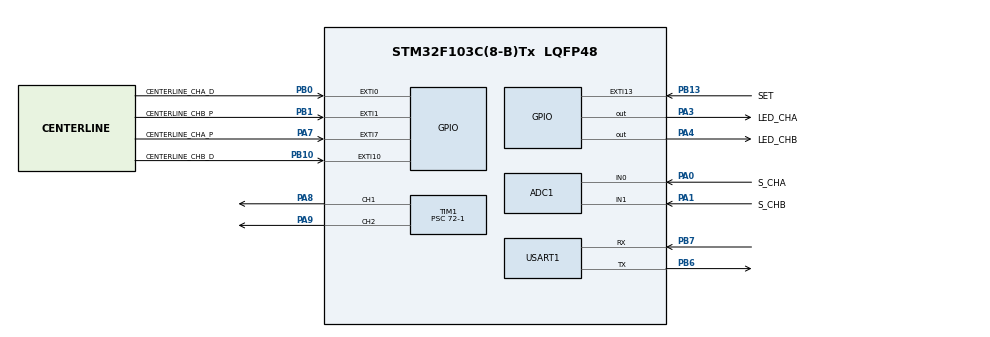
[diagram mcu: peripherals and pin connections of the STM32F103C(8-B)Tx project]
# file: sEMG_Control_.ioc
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ADC1.Channel-0\#ChannelRegularConversion=ADC_CHANNEL_0
ADC1.Channel-1\#ChannelRegularConversion=ADC_CHANNEL_1
ADC1.ContinuousConvMode=ENABLE
ADC1.NbrOfConversion=2
ADC1.NbrOfConversionFlag=1
ADC1.Rank-0\#ChannelRegularConversion=1
ADC1.Rank-1\#ChannelRegularConversion=2
ADC1.SamplingTime-0\#ChannelRegularConversion=ADC_SAMPLETIME_1CYCLE_5
ADC1.SamplingTime-1\#ChannelRegularConversion=ADC_SAMPLETIME_1CYCLE_5
ADC1.master=1
Dma.ADC1.0.Direction=DMA_PERIPH_TO_MEMORY
Dma.ADC1.0.Instance=DMA1_Channel1
Dma.ADC1.0.MemDataAlignment=DMA_MDATAALIGN_WORD
Dma.ADC1.0.MemInc=DMA_MINC_ENABLE
Dma.ADC1.0.Mode=DMA_NORMAL
Dma.ADC1.0.PeriphDataAlignment=DMA_PDATAALIGN_WORD
Dma.ADC1.0.PeriphInc=DMA_PINC_DISABLE
Dma.ADC1.0.Priority=DMA_PRIORITY_LOW
Dma.Request0=ADC1
Dma.Request1=USART1_TX
Dma.USART1_TX.1.Direction=DMA_MEMORY_TO_PERIPH
Dma.USART1_TX.1.Instance=DMA1_Channel4
Dma.USART1_TX.1.MemDataAlignment=DMA_MDATAALIGN_BYTE
Dma.USART1_TX.1.MemInc=DMA_MINC_ENABLE
Dma.USART1_TX.1.Mode=DMA_NORMAL
Dma.USART1_TX.1.PeriphDataAlignment=DMA_PDATAALIGN_BYTE
Dma.USART1_TX.1.PeriphInc=DMA_PINC_DISABLE
Dma.USART1_TX.1.Priority=DMA_PRIORITY_LOW
Mcu.Family=STM32F1
Mcu.Name=STM32F103C(8-B)Tx
Mcu.Package=LQFP48
NVIC.ADC1_2_IRQn=true\:0\:0\:false\:false\:true\:true\:true
NVIC.DMA1_Channel1_IRQn=true\:0\:0\:false\:false\:true\:false\:true
NVIC.DMA1_Channel4_IRQn=true\:0\:0\:false\:false\:true\:false\:true
NVIC.EXTI0_IRQn=true\:0\:0\:false\:false\:true\:true\:true
NVIC.EXTI15_10_IRQn=true\:0\:0\:false\:false\:true\:true\:true
NVIC.EXTI1_IRQn=true\:0\:0\:false\:false\:true\:true\:true
NVIC.EXTI9_5_IRQn=true\:0\:0\:false\:false\:true\:true\:true
NVIC.PriorityGroup=NVIC_PRIORITYGROUP_4
NVIC.TIM1_UP_IRQn=true\:0\:0\:false\:false\:true\:true\:true
NVIC.USART1_IRQn=true\:0\:0\:false\:false\:true\:true\:true
PA0-WKUP.GPIO_Label=S_CHA
PA0-WKUP.Signal=ADCx_IN0
PA1.GPIO_Label=S_CHB
PA1.Signal=ADCx_IN1
PA13.Mode=Serial_Wire
PA13.Signal=SYS_JTMS-SWDIO
PA14.Mode=Serial_Wire
PA14.Signal=SYS_JTCK-SWCLK
PA3.GPIO_Label=LED_CHA
PA3.GPIO_PuPd=GPIO_PULLDOWN
PA3.Signal=GPIO_Output
PA4.GPIO_Label=LED_CHB
PA4.GPIO_PuPd=GPIO_PULLDOWN
PA4.Signal=GPIO_Output
PA7.GPIO_Label=CENTERLINE_CHA_P
PA7.GPIO_ModeDefaultEXTI=GPIO_MODE_IT_RISING
PA7.GPIO_PuPd=GPIO_PULLDOWN
PA7.Signal=GPXTI7
PA8.Signal=S_TIM1_CH1
PA9.Signal=S_TIM1_CH2
PB0.GPIO_Label=CENTERLINE_CHA_D
PB0.GPIO_ModeDefaultEXTI=GPIO_MODE_IT_RISING
PB0.GPIO_PuPd=GPIO_PULLDOWN
PB0.Signal=GPXTI0
PB1.GPIO_Label=CENTERLINE_CHB_P
PB1.GPIO_PuPd=GPIO_PULLDOWN
PB1.Signal=GPXTI1
PB10.GPIO_Label=CENTERLINE_CHB_D
PB10.GPIO_PuPd=GPIO_PULLDOWN
PB10.Signal=GPXTI10
PB13.GPIO_Label=SET
PB13.GPIO_ModeDefaultEXTI=GPIO_MODE_IT_RISING
PB13.GPIO_PuPd=GPIO_PULLDOWN
PB13.Signal=GPXTI13
PB6.Mode=Asynchronous
PB6.Signal=USART1_TX
PB7.Mode=Asynchronous
PB7.Signal=USART1_RX
PD0-OSC_IN.Mode=HSE-External-Oscillator
PD0-OSC_IN.Signal=RCC_OSC_IN
PD1-OSC_OUT.Mode=HSE-External-Oscillator
PD1-OSC_OUT.Signal=RCC_OSC_OUT
ProjectManager.HeapSize=0x200
ProjectManager.StackSize=0x400
ProjectManager.TargetToolchain=MDK-ARM V5.27
RCC.AHBFreq_Value=72000000
RCC.APB1CLKDivider=RCC_HCLK_DIV2
RCC.APB1Freq_Value=36000000
RCC.APB1TimFreq_Value=72000000
RCC.APB2Freq_Value=72000000
RCC.APB2TimFreq_Value=72000000
RCC.HCLKFreq_Value=72000000
RCC.PLLMUL=RCC_PLL_MUL9
RCC.PLLSourceVirtual=RCC_PLLSOURCE_HSE
RCC.SYSCLKFreq_VALUE=72000000
RCC.SYSCLKSource=RCC_SYSCLKSOURCE_PLLCLK
RCC.USBFreq_Value=72000000
SH.ADCx_IN0.0=ADC1_IN0,IN0
SH.ADCx_IN1.0=ADC1_IN1,IN1
SH.S_TIM1_CH1.0=TIM1_CH1,PWM Generation1 CH1
SH.S_TIM1_CH2.0=TIM1_CH2,PWM Generation2 CH2
TIM1.Channel-PWM\ Generation1\ CH1=TIM_CHANNEL_1
TIM1.Channel-PWM\ Generation2\ CH2=TIM_CHANNEL_2
TIM1.Period=1000-1
TIM1.Prescaler=72-1
USART1.VirtualMode=VM_ASYNC
VP_TIM1_VS_ClockSourceINT.Mode=Internal
board=custom

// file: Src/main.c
/* USER CODE BEGIN Header */
/**
  ******************************************************************************
  * @file           : main.c
  * @brief          : Main program body
  ******************************************************************************
  * @attention
  *
  * <h2><center>&copy; Copyright (c) 2020 STMicroelectronics.
  * All rights reserved.</center></h2>
  *
  * This software component is licensed by ST under BSD 3-Clause license,
  * the "License"; You may not use this file except in compliance with the
  * License. You may obtain a copy of the License at:
  *                        opensource.org/licenses/BSD-3-Clause
  *
  ******************************************************************************
  */
/* USER CODE END Header */
#include "main.h"
#include "adc.h"
#include "dma.h"
#include "tim.h"
#include "usart.h"
#include "gpio.h"

void SystemClock_Config ( void );

/* USER CODE BEGIN 0 */
void UserInit ( void );
void PowerOut ( void );
uint8_t  GetValue ( uint16_t value[S_CHANNEL__NUM][SUBDIVIDE], uint16_t valueLen[S_CHANNEL__NUM], uint8_t sCh );
void GetPosition ( uint16_t  value[SUBDIVIDE], uint16_t valueDividing[3] );
void SetValue ( void );

uint32_t DMA_Transfer_Complete_Count = 0U;
uint8_t ADC_Flag = 0U;
uint16_t Blink_Tick = 0U;
uint16_t Blink_Status = 0U;
uint16_t Key__Tick = 0U;
uint8_t Key_Status = 0U;
uint8_t Set_Status = 0U; 							//设置是否更新Value_Max与Value_Min的值，0=是否开启录入，非0为当前录入项
uint32_t ADC_Value[S_CHANNEL__NUM];						//adc采集数组
uint16_t S_Value_CyCle_Tick = 0U, S_Value_CyCle_Set_Tick = 0U, Blink_CyCle_Tick = 0U;
uint8_t S_CH_Set = 0U;
uint16_t  S_Value_Level[S_CHANNEL__NUM][SUBDIVIDE];	//存放单轮采集周期不同能级样本数量
uint16_t Value_Dividing[S_CHANNEL__NUM][3];					//标记S_Value_Level数组有效数据位置范围
uint16_t Blink_Delay[S_CHANNEL__NUM];

uint16_t Static_S_Value_Len[S_CHANNEL__NUM];				//标记S_Value_Level数组有效数据长度,并作为是否为有效控制信号参照数据
uint16_t S_Value_Len[S_CHANNEL__NUM] = {0U, 0U};;								//信号能级宽度
uint8_t Value_Is_Ok[S_CHANNEL__NUM];
uint16_t S_value_Centerline[S_CHANNEL__NUM] = {S_VALUE_CENTERLINE_COUNT, S_VALUE_CENTERLINE_COUNT};//肌肉放松状态下的能量宽度
uint16_t S_value_Max[S_CHANNEL__NUM] = {S_VALUE_MAX, S_VALUE_MAX};					//最大力量下的信号阈值
uint16_t Speed_Level_Len[S_CHANNEL__NUM][SPEED_SUBDIVIDE];					//标记不同电机转速级别对应的肌肉信号能级
uint32_t Set_Value_Count = 0U;
uint16_t S_Value_SET_Status = -SET_MIN;

const double Static_S_value_Subdivide = 0xFFF / SUBDIVIDE;				//对adc信号进行格式化，以便进行能级标记能级宽度
const double Static_Speed_Subdivide = ( TIM_PERIOD + 1 ) / SPEED_SUBDIVIDE;//对电机转速进行格式化
double S_Speed_Subdivide =  S_VALUE_MAX  / SPEED_SUBDIVIDE;					//对最大肌肉力量下的信号能级进行格式化
double Value2Led = ( S_VALUE_MAX - S_VALUE_CENTERLINE_COUNT ) / ( LED_PERIOD / LED_SUBDIVIDE );//将肌肉信号转化为led灯闪烁显示

uint8_t CH_State = CH_IS_DIS;
uint16_t Sin2Speed[S_CHANNEL__NUM];
/* USER CODE END 0 */

int main ( void )
{

    /* MCU Configuration--------------------------------------------------------*/

    /* Reset of all peripherals, Initializes the Flash interface and the Systick. */
    HAL_Init();

    /* Configure the system clock */
    SystemClock_Config();

    /* Initialize all configured peripherals */
    MX_GPIO_Init();
    MX_DMA_Init();
    MX_ADC1_Init();
    MX_TIM1_Init();
    MX_USART1_UART_Init();
    /* USER CODE BEGIN 2 */
    UserInit();
    /* USER CODE END 2 */

    /* Infinite loop */
    while ( 1 )
    {

    }
}

void SystemClock_Config ( void )
{
    RCC_OscInitTypeDef RCC_OscInitStruct = {0};
    RCC_ClkInitTypeDef RCC_ClkInitStruct = {0};
    RCC_PeriphCLKInitTypeDef PeriphClkInit = {0};

    /** Initializes the RCC Oscillators according to the specified parameters
    * in the RCC_OscInitTypeDef structure.
    */
    RCC_OscInitStruct.OscillatorType = RCC_OSCILLATORTYPE_HSE;
    RCC_OscInitStruct.HSEState = RCC_HSE_ON;
    RCC_OscInitStruct.HSEPredivValue = RCC_HSE_PREDIV_DIV1;
    RCC_OscInitStruct.HSIState = RCC_HSI_ON;
    RCC_OscInitStruct.PLL.PLLState = RCC_PLL_ON;
    RCC_OscInitStruct.PLL.PLLSource = RCC_PLLSOURCE_HSE;
    RCC_OscInitStruct.PLL.PLLMUL = RCC_PLL_MUL9;

    if ( HAL_RCC_OscConfig ( &RCC_OscInitStruct ) != HAL_OK )
    {
        Error_Handler();
    }

    /** Initializes the CPU, AHB and APB buses clocks
    */
    RCC_ClkInitStruct.ClockType = RCC_CLOCKTYPE_HCLK | RCC_CLOCKTYPE_SYSCLK
                                  | RCC_CLOCKTYPE_PCLK1 | RCC_CLOCKTYPE_PCLK2;
    RCC_ClkInitStruct.SYSCLKSource = RCC_SYSCLKSOURCE_PLLCLK;
    RCC_ClkInitStruct.AHBCLKDivider = RCC_SYSCLK_DIV1;
    RCC_ClkInitStruct.APB1CLKDivider = RCC_HCLK_DIV2;
    RCC_ClkInitStruct.APB2CLKDivider = RCC_HCLK_DIV1;

    if ( HAL_RCC_ClockConfig ( &RCC_ClkInitStruct, FLASH_LATENCY_2 ) != HAL_OK )
    {
        Error_Handler();
    }

    PeriphClkInit.PeriphClockSelection = RCC_PERIPHCLK_ADC;
    PeriphClkInit.AdcClockSelection = RCC_ADCPCLK2_DIV2;

    if ( HAL_RCCEx_PeriphCLKConfig ( &PeriphClkInit ) != HAL_OK )
    {
        Error_Handler();
    }
}

/* USER CODE BEGIN 4 */
void UserInit ( void )
{
    double valuePosition = S_Speed_Subdivide;
    //定时器初始化
    htim1.Init.Period = TIM_PERIOD;
    HAL_ADC_Start_DMA ( &hadc1, ( uint32_t* ) &S_CH, S_CHANNEL__NUM );
    HAL_TIM_Base_Start_IT ( &htim1 );
    htim1.Instance->CCER = 0U;
    __HAL_TIM_MOE_ENABLE ( &htim1 );

    for ( uint16_t i = 0U; i < SUBDIVIDE; i++ )
    {
        for ( uint16_t j = 0U; j < S_CHANNEL__NUM; j++ )
        {
            S_Value_Level[j][i] = 0U;
        }
    }

    for ( uint16_t i = 0U; i < SPEED_SUBDIVIDE; i++ )
    {
        for ( uint16_t j = 0U; j < S_CHANNEL__NUM; j++ )
        {
            Speed_Level_Len[j][i] = ( uint16_t ) valuePosition;
        }

        valuePosition += S_Speed_Subdivide;
    }

    for ( uint16_t i = 0U; i < S_CHANNEL__NUM; i++ )
    {
        Value_Is_Ok[i] = 0U;
    }
}

void HAL_ADC_ConvCpltCallback ( ADC_HandleTypeDef* AdcHandle )
{
    ADC_Flag = 1U;
    HAL_ADC_Stop_DMA ( &hadc1 );
}

void GetPosition ( uint16_t  valueCount[SUBDIVIDE], uint16_t valueDividing[3] )
{
    //通过采集到的样本数量判断是否为毛刺，从而标记有效边界
    for ( uint16_t i = 0, j = 0, k = 0, t; i < SUBDIVIDE  ; i++ )
    {
        switch ( j )
        {
        case 0:
            if ( valueCount[i] > S_VALUE_COUNT_MIN )
            {
                valueDividing[0] = i;
                j++;

            }

            break;

        case 1:
            /*     if ( ( valueCount[i] > k ) || ( valueCount[i] < S_VALUE_CENTERLINE_COUNT ) )
                 {
                     k = valueCount[i];
                     valueDividing[1] = i;
                 }
                 else
            		*/
            j++;

            break;

        case 2:
            if ( valueCount[i] > S_VALUE_COUNT_MIN )
            {
                valueDividing[2] = i;
            }

            break;
        }
    }
}

uint8_t GetValue ( uint16_t value[S_CHANNEL__NUM][SUBDIVIDE], uint16_t valueLen[S_CHANNEL__NUM], uint8_t sCh )
{
    if ( ADC_Flag )
    {

        ADC_Flag = 0U;
        HAL_ADC_Start_DMA ( &hadc1, ( uint32_t* ) &S_CH, S_CHANNEL__NUM );
        uint8_t valueIsOk[S_CHANNEL__NUM] = {0U, 0U};//标记不同通道的遍历状态，以便缩短遍历时间

        if ( Value_Is_Ok[CHA] || Value_Is_Ok[CHB] )
        {
            //判断两个通道的信号宽度，取最大值
            uint16_t vLen = ( S_Value_Len[CHA] > S_Value_Len[CHB] ) || ( S_Value_Len[CHA] == S_Value_Len[CHB] )
                            ? S_Value_Len[CHA] : S_Value_Len[CHB];
            //判断两个通道的信号起点，取最小值
            uint16_t valueMin = ( Value_Dividing[CHA][0] < Value_Dividing[CHB][0] ) || ( Value_Dividing[CHA][0] == Value_Dividing[CHB][0] )
                                ? Value_Dividing[CHA][0] : Value_Dividing[CHB][0];
            vLen += valueMin + 2;

            if ( vLen > SUBDIVIDE )
                vLen = SUBDIVIDE;

            //判断当前要获取的通道，0XFF 为全部通道
            if ( sCh == 0XFF )
            {
                Value_Is_Ok[CHA] = 0U;
                Value_Is_Ok[CHB] = 0U;
            }
            else
                Value_Is_Ok[sCh] = 0U;

            //清空对应的信号数组备用
            for ( uint16_t i = valueMin; i < vLen ; i++ )
            {
                if ( sCh == 0XFF )
                {
                    value[CHA][i] = 0U;
                    value[CHB][i] = 0U;

                }
                else
                {
                    value[sCh][i] = 0U;
                }
            }

        }

        for ( uint16_t i = 0U, j, k; i < SUBDIVIDE ; i++ )
        {
            //j标记当前能级起点，k标记当前能级终点
            j = ( uint16_t ) ( Static_S_value_Subdivide * i );
            k = j + Static_S_value_Subdivide;

            if ( sCh == 0XFF )
            {
                if ( S_CH[CHA] + 1 > j  &&   S_CH[CHA] < k )
                {
                    value[CHA][i]++;
                    valueIsOk[CHA] = !0U;
                }

                if ( S_CH[CHB] + 1 > j &&  S_CH[CHB] < k )
                {
                    value[CHB][i]++;
                    valueIsOk[CHB] = !0U;
                }

                if ( valueIsOk[CHA] && valueIsOk[CHB] )
                {
                    valueIsOk[CHA] = 0U;
                    valueIsOk[CHB] = 0U;

                    break;
                }

            }
            else

            {
                if ( ( sCh == CHA ? S_CH[CHA] : S_CH[CHB] ) + 1 > j
                        && ( sCh == CHA ? S_CH[CHA] : S_CH[CHB] ) < k )
                {
                    value[sCh][i]++;
                    break;
                }

            }
        }

        //判断是否达到单轮周期采样次数

        if ( S_Value_CyCle_Tick > S_VALUE_CYCLE_COUNT )
        {
            if ( sCh == 0XFF )
            {
                //获取信号边界位置，并计算信号长度
                GetPosition ( value[CHA], Value_Dividing[CHA] );
                valueLen[CHA] = Value_Dividing[CHA][2] - Value_Dividing[CHA][0];
                GetPosition ( value[CHB], Value_Dividing[CHB] );
                valueLen[CHB] = Value_Dividing[CHB][2] - Value_Dividing[CHB][0];
                Value_Is_Ok[CHA] = !0U;
                Value_Is_Ok[CHB] = !0U;
            }
            else
            {
                GetPosition ( value[sCh], Value_Dividing[sCh] );
                valueLen[sCh] = Value_Dividing[sCh][2] - Value_Dividing[sCh][0];
                Value_Is_Ok[sCh] = !0U;
            }

            S_Value_CyCle_Tick = 0U;

            return !0U;
        }
        else
            return 0U;

    }

}

void PowerOut ( void )
{
    if ( GetValue ( S_Value_Level, S_Value_Len, 0xFF ) )
    {
        //设置不同通道led灯状态
        Blink_Delay[CHA] = ( uint16_t ) ( ( S_Value_Len[CHA] - S_VALUE_CENTERLINE_COUNT ) / Value2Led ) * LED_SUBDIVIDE;
        Blink_Delay[CHB] = ( uint16_t ) ( ( S_Value_Len[CHB] - S_VALUE_CENTERLINE_COUNT ) / Value2Led ) * LED_SUBDIVIDE;

        if ( Blink_CyCle_Tick < Blink_Delay[CHA] )
            HAL_GPIO_WritePin ( LED_CHA_GPIO_Port, LED_CHA_Pin, !0U );
        else
            HAL_GPIO_WritePin ( LED_CHA_GPIO_Port, LED_CHA_Pin, 0U );

        if ( Blink_CyCle_Tick < Blink_Delay[CHB] )
            HAL_GPIO_WritePin ( LED_CHB_GPIO_Port, LED_CHB_Pin, !0U );
        else
            HAL_GPIO_WritePin ( LED_CHB_GPIO_Port, LED_CHB_Pin, 0U );

            //获取当前信号对应的转速位置

        for ( uint16_t i = 0U; i < SPEED_SUBDIVIDE - 1; i++ )
        {
            if ( S_Value_Len[CHA] + 1 > Speed_Level_Len[CHA][i] && S_Value_Len[CHA] < Speed_Level_Len[CHA][i + 1] )
            {
                Sin2Speed[CHA] = i;
            }

            if ( S_Value_Len[CHB] + 1 > Speed_Level_Len[CHB][i] && S_Value_Len[CHB] < Speed_Level_Len[CHB][i + 1] )
            {
                Sin2Speed[CHB] = i;
            }
        }

            //通过判断通道信号是否大于肌肉放松状态下的宽度并且有效能级另一通道能级，从而判断当前通道操作信号是否有效
        if ( S_Value_Len[CHA] > S_value_Centerline[CHA] && Sin2Speed[CHA] > Sin2Speed[CHB] )
        {

            CH_State = CHA;
        }
        else if ( S_Value_Len[CHB] > S_value_Centerline[CHB] && Sin2Speed[CHB] > Sin2Speed[CHA] )
        {
            CH_State = CHB;
        }
        else
        {
            CH_DIS;
            CH_State = CH_IS_DIS;
        }

        if ( CH_State != CH_IS_DIS )
        {
            if ( S_Value_Len[CH_State] < S_value_Max[CH_State] )
            {
                if ( CH_State == CHA )
                {
                    O_CHA = ( uint16_t ) ( Static_Speed_Subdivide * Sin2Speed[CHA] ) ;
                    CHA_EN;
                }
                else
                {
                    O_CHB = ( uint16_t ) ( Static_Speed_Subdivide * Sin2Speed[CHB] );
                    CHB_EN;
                }

            }
            else
            {
                CH_DIS;
                CH_State = CH_IS_DIS;
            }

        }
    }

}

void SetValue ( void )
{
    GetValue ( S_Value_Level, S_Value_Len, S_CH_Set ) ;

		//获取肌肉放松和最大力量状态的最大信号宽度
    if ( S_Value_SET_Status == SET_MIN )
    {
        if ( S_Value_Len[S_CH_Set] < S_VALUE_CENTERLINE_SET_MIN_MAX )
        {
            Set_Value_Count = ( S_Value_Len[S_CH_Set] > Set_Value_Count ) ? S_Value_Len[S_CH_Set] : Set_Value_Count;

        }

    }
    else
    {
        if ( S_Value_Len[S_CH_Set] < S_VALUE_CENTERLINE_SET_MAX_MAX )
        {
            Set_Value_Count = ( S_Value_Len[S_CH_Set] > Set_Value_Count ) ? S_Value_Len[S_CH_Set] : Set_Value_Count;

        }
    }

    //判断当前是设置放松还是最大力量状态下的值
    if ( S_Value_CyCle_Set_Tick > SET__DELAY_COUNT_MIN )
    {
        if ( S_Value_SET_Status == SET_MIN )
        {
            S_value_Centerline[S_CH_Set] = Set_Value_Count;
            S_Value_SET_Status = SET_MAX;
            Set_Value_Count = 0U;
        }
    }

    if ( S_Value_CyCle_Set_Tick > SET__DELAY_COUNT_MAX )
    {
        S_Value_CyCle_Set_Tick = 0U;

        if ( Set_Value_Count > S_VALUE_MAX )
            S_value_Max[S_CH_Set] = Set_Value_Count;

        for ( uint16_t i = 0; i < SPEED_SUBDIVIDE; i++ )
        {
            Speed_Level_Len[S_CH_Set][i] = 0U;
        }

        S_Speed_Subdivide =  Set_Value_Count  / SPEED_SUBDIVIDE;

        double valuePosition = S_Speed_Subdivide;

        for ( uint16_t i = 0; i < SPEED_SUBDIVIDE; i++ )
        {
            Speed_Level_Len[S_CH_Set][i] = ( uint16_t ) valuePosition;
            valuePosition += S_Speed_Subdivide;
        }

        Set_Status = 0U;
        Set_Value_Count = 0U;
        S_Value_SET_Status = SET_MIN;
        HAL_GPIO_WritePin ( LED_CHA_GPIO_Port, LED_CHA_Pin, 0U );
        HAL_GPIO_WritePin ( LED_CHB_GPIO_Port, LED_CHB_Pin, 0U );

    }

		//设置两种肌肉状态下的led状态，设置放松状态为闪烁，最大力量为常亮，完成后熄灭led
    if ( Blink_CyCle_Tick > SET_BLINK__DELAY_COUNT )
    {
        Blink_CyCle_Tick = 0U;

        switch ( S_CH_Set )
        {
        case CHA:
            if ( S_Value_SET_Status == SET_MIN )
                HAL_GPIO_TogglePin ( LED_CHA_GPIO_Port, LED_CHA_Pin );
            else
                HAL_GPIO_WritePin ( LED_CHA_GPIO_Port, LED_CHA_Pin, !0U );

            HAL_GPIO_WritePin ( LED_CHB_GPIO_Port, LED_CHB_Pin, 0U );
            break;

        case CHB:
            if ( S_Value_SET_Status == SET_MIN )
                HAL_GPIO_TogglePin ( LED_CHB_GPIO_Port, LED_CHB_Pin );
            else
                HAL_GPIO_WritePin ( LED_CHB_GPIO_Port, LED_CHB_Pin, !0U );

            HAL_GPIO_WritePin ( LED_CHA_GPIO_Port, LED_CHA_Pin, 0U );
        }
    }

    Blink_CyCle_Tick++;
    S_Value_CyCle_Set_Tick++;
}

void HAL_TIM_PeriodElapsedCallback ( TIM_HandleTypeDef *htim )
{

    if ( htim->Instance == htim1.Instance )
    {
        Blink_CyCle_Tick++;

        if ( Blink_CyCle_Tick > LED_PERIOD )
            Blink_CyCle_Tick = 0U;

        Key__Tick++;
        S_Value_CyCle_Tick++;

        if ( Set_Status )
            SetValue();
        else
            PowerOut();

        if ( Key__Tick > KEY_DELAY_COUNT )
        {
            Key__Tick = 0;
            Key_Status = !0U;
        }

    }

}

void HAL_GPIO_EXTI_Callback ( uint16_t GPIO_Pin )
{

    if ( Key_Status )
    {
        Key_Status = 0U;

        switch ( GPIO_Pin )
        {
        //切换设置不同的通道
        case SET_Pin:
            S_CH_Set = S_CH_Set == CHA ? CHB : CHA;
            Set_Status = !0U;
            S_Value_CyCle_Set_Tick = 0U;
            break;

        case CENTERLINE_CHA_P_Pin:
            if ( S_value_Centerline[CHA] < SUBDIVIDE )
                S_value_Centerline[CHA]++;

            break;

        case CENTERLINE_CHA_D_Pin:
            if ( S_value_Centerline[CHA] > 1U )
                S_value_Centerline[CHA]--;

            break;

        case CENTERLINE_CHB_P_Pin:
            if ( S_value_Centerline[CHB] < SUBDIVIDE )
                S_value_Centerline[CHB]++;

            break;

        case CENTERLINE_CHB_D_Pin:
            if ( S_value_Centerline[CHB] > 1U )
                S_value_Centerline[CHB]--;

            break;
        }
    }
}

/* USER CODE END 4 */

void Error_Handler ( void )
{
}

/************************ (C) COPYRIGHT STMicroelectronics *****END OF FILE****/
